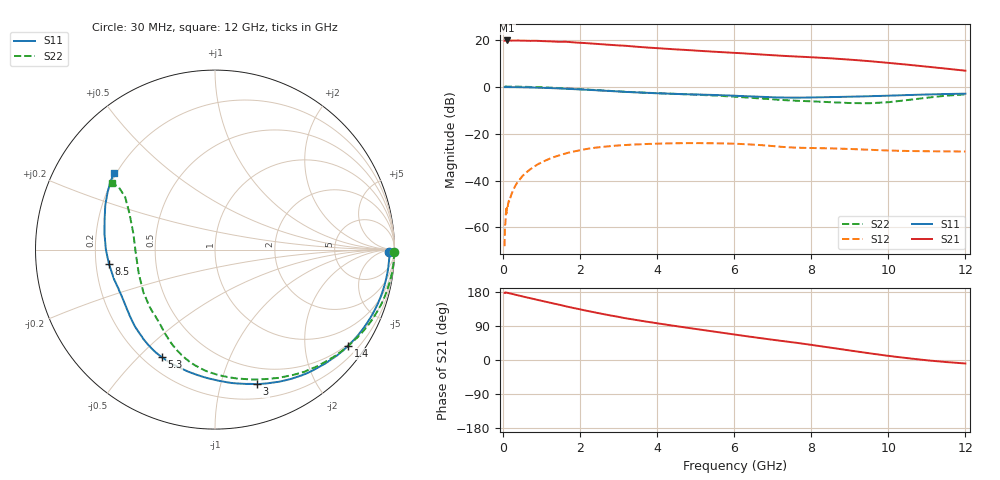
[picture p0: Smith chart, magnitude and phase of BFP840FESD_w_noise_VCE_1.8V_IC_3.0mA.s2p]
! Infineon Technologies  Discrete & RF Semiconductors
! BFP840FESD
! VCE =  1.8 V,  IC =  3.0 mA
! Common Emitter S-Parameters:  May 2012
# GHz  S  MA  R  50
!  f  S11  S21  S12  S22
! GHz  MAG  ANG  MAG  ANG  MAG  ANG  MAG  ANG
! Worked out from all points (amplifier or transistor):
!   103 points, 30 MHz to 12 GHz, reference 50 ohm
!   highest |S21| = 19.6 dB at 100 MHz (marker M1)
!   |S21| within 3 dB of that: start of sweep to 3.729 GHz
!   unconditionally stable (mu >= 1): 7.623 GHz to end of sweep
!   at 400 MHz: K = 0.01, MSG = 29.8 dB, |S12| = -40.0 dB
!   at 3.7 GHz: K = 0.26, MSG = 20.6 dB, |S12| = -24.5 dB
!   at 12 GHz: K = 1.39, MAG = 13.5 dB, |S12| = -27.7 dB
!   lowest NFmin = 0.51 dB at 450 MHz
!   S11 on the Smith chart (normalised r, x): 30 MHz: 57, -28; 1.4 GHz: 0.46, -3.02; 3 GHz: 0.33, -1.31; 5.3 GHz: 0.27, -0.59; 8.5 GHz: 0.25, -0.06; 12 GHz: 0.19, +0.32
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0.03  0.9722 -0.8  9.511 177.1  0.0004 76.3  0.998 -0.7
0.04  0.9724 -1.0  9.504 177.0  0.0011 89.3  0.9977 -0.9
0.05  0.9713 -1.3  9.541 178.4  0.0012 83.8  0.9986 -1.1
0.07  0.9722 -1.9  9.547 178.1  0.0025 77.7  0.9984 -1.5
0.08  0.9713 -2.1  9.57 177.8  0.002 86.4  0.9985 -1.8
0.1  0.9721 -2.6  9.58 177.4  0.0028 82.1  0.9974 -2.2
0.35  0.9678 -9.1  9.529 171.3  0.0088 82.4  0.9944 -7.9
0.8  0.9515 -20.7  9.438 160.7  0.0198 74.3  0.9752 -18.1
1.4  0.9155 -35.9  8.996 146.9  0.0333 62.4  0.9323 -31.6
1.7  0.8901 -43.5  8.888 139.8  0.0393 56.7  0.9054 -38.5
2.1  0.8598 -53.0  8.449 131.2  0.046 49.2  0.8692 -47.4
2.6  0.8179 -64.2  7.903 121.0  0.0522 40.5  0.8242 -57.8
3  0.786 -72.6  7.49 113.6  0.0558 34.6  0.789 -65.3
3.2  0.7683 -76.9  7.344 109.7  0.0571 31.7  0.7729 -69.0
4.1  0.7149 -94.3  6.48 95.3  0.0612 21.2  0.7172 -83.3
5.3  0.668 -116.5  5.628 77.4  0.0622 9.4  0.654 -99.8
6.1  0.6322 -130.4  5.169 65.8  0.0602 2.5  0.6012 -110.4
7.1  0.588 -147.8  4.59 52.0  0.0532 -3.1  0.5265 -124.1
8.5  0.5963 -172.3  3.99 32.5  0.0483 -1.4  0.4645 -149.3
9.5  0.6226 171.6  3.476 17.8  0.0451 -0.7  0.4414 -176.6
10.5  0.6593 158.0  2.919 4.8  0.0425 3.3  0.5167 157.2
12  0.7057 142.9  2.176 -9.2  0.0414 12.4  0.6832 147.3
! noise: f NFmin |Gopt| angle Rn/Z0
0.45  0.51  0.62  7  0.22
0.9  0.57  0.59  13  0.22
1.5  0.62  0.54  20  0.21
1.9  0.64  0.5  28  0.21
2.4  0.67  0.47  35  0.22
3.5  0.69  0.45  54  0.2
5.5  0.79  0.34  90  0.15
8  1.02  0.29  149  0.12
10  1.24  0.31  -165  0.11
12  1.41  0.48  -132  0.14
